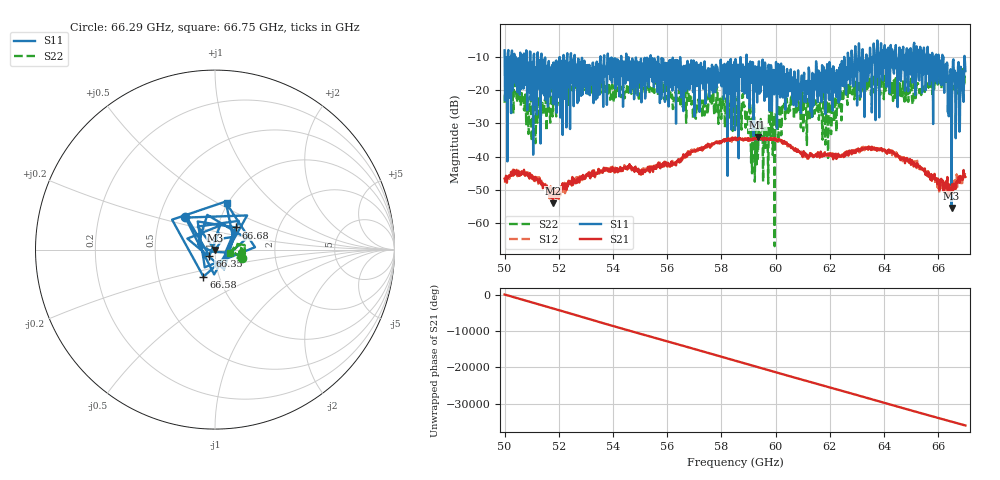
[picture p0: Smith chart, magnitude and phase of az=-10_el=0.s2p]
!Created with skrf (http://scikit-rf.org).
# GHz S RI R 50.0
!freq ReS11 ImS11 ReS21 ImS21 ReS12 ImS12 ReS22 ImS22
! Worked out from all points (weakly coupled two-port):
!   1001 points, 50 GHz to 67 GHz, reference 50 ohm
!   highest |S21| = -34.07 dB at 59.33 GHz (marker M1); lowest = -54.1 dB at 51.78 GHz (marker M2)
!   lowest |S11| = -55.5 dB at 66.49 GHz (marker M3), VSWR 1.00, Z = 50 - j0.163 ohm
!   |S11| at or under -10 dB: 52.59 GHz to 53.53 GHz (948.2 MHz wide, 1.79 % of centre); 55.66 GHz to 58.92 GHz (3.262 GHz wide, 5.69 % of centre); 58.93 GHz to 62.53 GHz (3.6 GHz wide, 5.93 % of centre) (the widest 3 of 63)
!   |S22| runs from -67.0 to -13.4 dB; largest |S21 - S12| = 0.0022
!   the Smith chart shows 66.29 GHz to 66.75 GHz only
!   S11 on the Smith chart (normalised r, x): 66.29 GHz: 0.67, +0.26; 66.35 GHz: 0.94, -0.06; 66.58 GHz: 0.84, -0.26; 66.68 GHz: 1.22, +0.31; 66.75 GHz: 0.99, +0.55
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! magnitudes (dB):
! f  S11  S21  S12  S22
! 50 GHz  -8.0  -46.7  -47.9  -23.8
! 50.15 GHz  -22.3  -46.2  -46.2  -20.4
! 51.07 GHz  -9.6  -46.1  -46.0  -25.7
! 51.78 GHz  -24.1  -54.1  -52.2  -25.7
! 52.84 GHz  -11.6  -46.0  -46.5  -19.5
! 55.68 GHz  -13.3  -41.8  -42.3  -21.6
! 58.5 GHz  -32.0  -34.6  -34.5  -23.2
! 59.33 GHz  -13.0  -34.1  -34.6  -40.8
! 59.84 GHz  -13.2  -34.9  -34.7  -26.7
! 60.03 GHz  -14.4  -34.9  -35.1  -31.1
! 60.64 GHz  -16.1  -37.6  -37.3  -22.4
! 61.34 GHz  -28.1  -39.3  -39.9  -26.8
! 62 GHz  -12.2  -39.0  -38.9  -23.9
! 62.55 GHz  -11.4  -39.0  -39.1  -18.6
! 64.18 GHz  -11.6  -37.8  -38.5  -17.4
! 66.29 GHz  -12.2  -47.8  -49.2  -16.0
! 66.35 GHz  -26.6  -52.1  -48.5  -15.6
! 66.49 GHz  -55.5  -51.2  -49.4  -15.5
! 66.58 GHz  -15.7  -49.9  -48.9  -15.7
! 66.68 GHz  -15.4  -47.5  -45.4  -16.7
! 66.75 GHz  -11.5  -46.2  -47.8  -21.2
! 67 GHz  -14.2  -46.1  -45.0  -14.3
